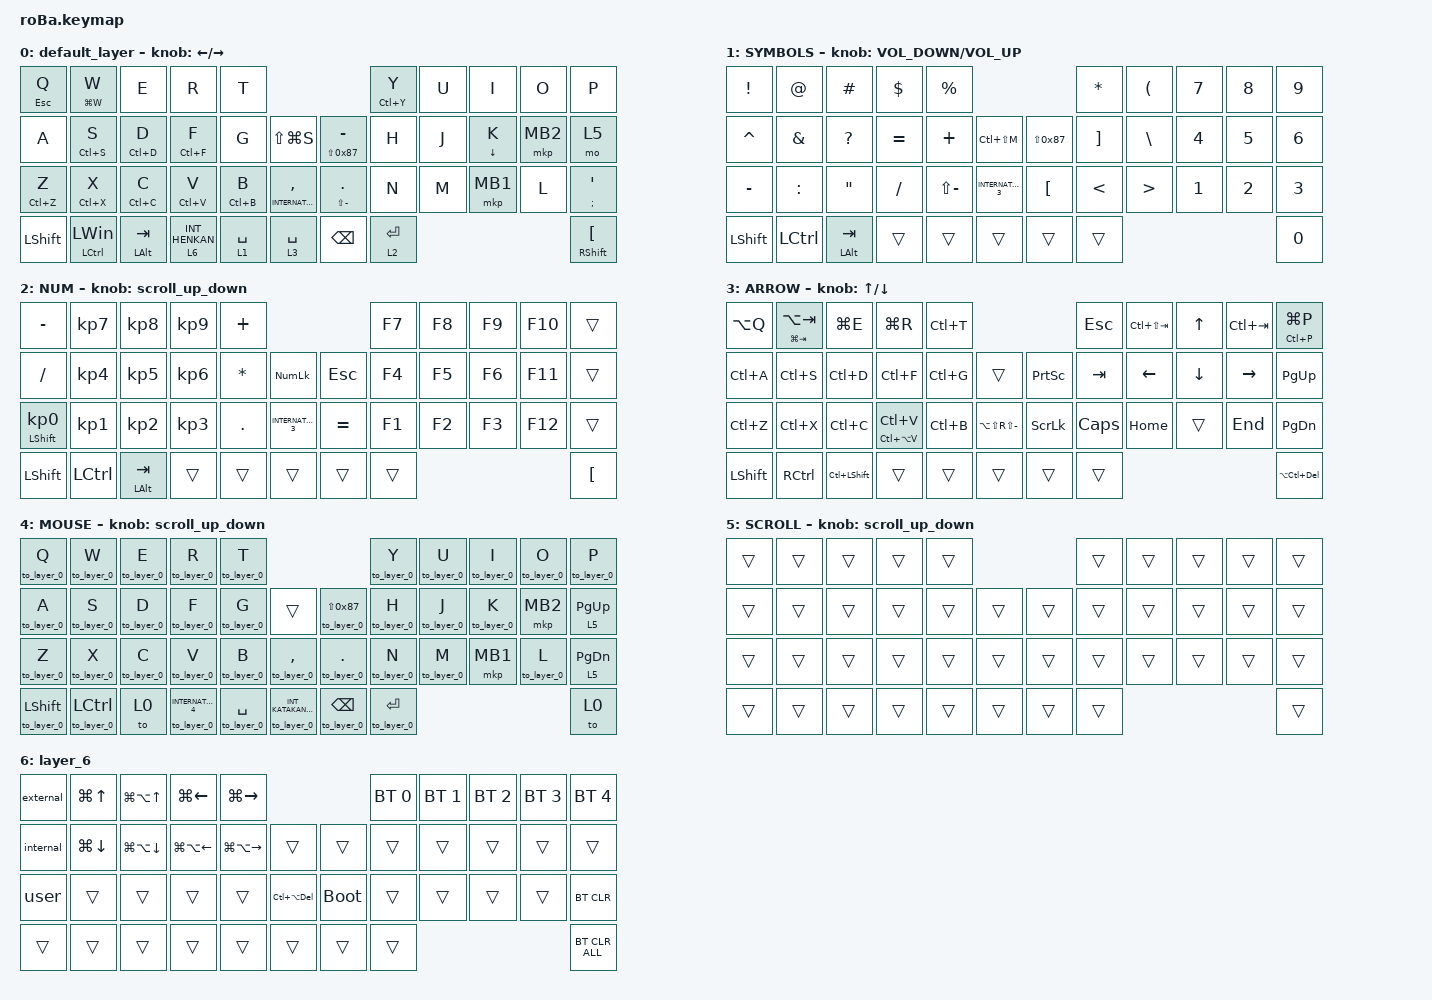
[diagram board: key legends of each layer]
#include <behaviors.dtsi>
#include <dt-bindings/zmk/bt.h>
#include <dt-bindings/zmk/keys.h>
#include <dt-bindings/zmk/pointing.h>

#define MOUSE 4
#define SCROLL 5
#define NUM 6
#define ZMK_POINTING_DEFAULT_SCRL_VAL 80
#define JP_UNDERSCORE   LS(0x87)          // _

&mt {
    flavor = "balanced";
    quick-tap-ms = <0>;
};

/ {
    combos {
        compatible = "zmk,combos";

        tab {
            bindings = <&kp TAB>;
            key-positions = <11 12>;
        };

        shift_tab {
            bindings = <&kp LS(TAB)>;
            key-positions = <12 13>;
        };
    };

    macros {
        to_layer_0: to_layer_0 {
            compatible = "zmk,behavior-macro-one-param";
            #binding-cells = <1>;
            bindings = <&to 0 &macro_param_1to1 &kp MACRO_PLACEHOLDER>;
            label = "TO_LAYER_0";
        };

        external: external {
            compatible = "zmk,behavior-macro";
            #binding-cells = <0>;
            bindings = <&none &kp N &kp T &kp LEFT_BRACKET &kp N3 &kp N0 &kp T &kp H>;
            label = "EXTERNAL";
        };

        internal: internal {
            compatible = "zmk,behavior-macro";
            #binding-cells = <0>;
            bindings = <&none &kp N &kp I &kp K &kp O &kp N &kp N1 &kp N0 &kp N9>;
            label = "INTERNAL";
        };

        user: user {
            compatible = "zmk,behavior-macro";
            #binding-cells = <0>;
            bindings = <&none &kp LS(C) &kp LS(H) &kp A &kp K &kp A &kp P &kp N0 &kp K &kp N0 &kp LEFT_BRACKET &kp LS(F) &kp LS(D) &kp N3 &kp LS(S)>;
            label = "USER";
        };

        new_macro: new_macro {
            compatible = "zmk,behavior-macro";
            #binding-cells = <0>;
            bindings = <&none>;
            label = "NEW_MACRO";
        };

        //      mkp_exit_AML: mkp_exit_AML {
        //           compatible = "zmk,behavior-macro-one-param";
        //            #binding-cells = <1>;
        //            bindings =
        //                <&macro_press>,
        //                <&macro_param_1to1 &mkp MACRO_PLACEHOLDER>,
        //                <&macro_pause_for_release>,
        //                <&macro_release>,
        //                <&macro_param_1to1 &mkp MACRO_PLACEHOLDER>,
        //                <&macro_tap>,
        //                <&sl 4>;
        //
        //            label = "MKP_EXIT_AML";
        //        };
    };

    behaviors {
        lt_to_layer_0: lt_to_layer_0 {
            compatible = "zmk,behavior-hold-tap";
            label = "LAYER_TAP_TO_0";
            bindings = <&mo>, <&to_layer_0>;

            #binding-cells = <2>;
            tapping-term-ms = <200>;
        };

        scroll_up_down: behavior_sensor_rotate_mouse_wheel_up_down {
            compatible = "zmk,behavior-sensor-rotate";
            #sensor-binding-cells = <0>;
            bindings = <&msc SCRL_UP>, <&msc SCRL_DOWN>;

            // 追加: スクロールのタップ時間を設定 (20ms)

            tap-ms = <20>;
        };
    };

    keymap {
        compatible = "zmk,keymap";

        default_layer {
            bindings = <
&mt ESCAPE Q    &mt LG(W) W         &kp E             &kp R             &kp T                                                                &mt LC(Y) Y  &kp U  &kp I             &kp O     &kp P
&kp A           &mt LC(S) S         &mt LC(D) D       &mt LC(F) F       &kp G        &kp LS(LG(S))                  &mt JP_UNDERSCORE MINUS  &kp H        &kp J  &mt DOWN_ARROW K  &mkp MB2  &mo 5
&mt LC(Z) Z     &mt LC(X) X         &mt LC(C) C       &mt LC(V) V       &mt LC(B) B  &mt INTERNATIONAL_3 COMMA      &mt LS(MINUS) PERIOD     &kp N        &kp M  &mkp MB1          &kp L     &mt SEMICOLON SINGLE_QUOTE
&kp LEFT_SHIFT  &mt LCTRL LEFT_WIN  &mt LEFT_ALT TAB  &lt 6 INT_HENKAN  &lt 1 SPACE  &lt 3 SPACE                    &kp BACKSPACE            &lt 2 ENTER                                     &mt RIGHT_SHIFT LEFT_BRACKET
            >;

            sensor-bindings = <&inc_dec_kp LEFT_ARROW RIGHT_ARROW>;
        };

        SYMBOLS {
            bindings = <
&kp EXCLAMATION  &kp AT     &kp HASH           &kp DLLR   &kp PRCNT                                                  &kp ASTERISK       &kp LEFT_PARENTHESIS  &kp N7  &kp N8  &kp N9
&kp CARET        &kp AMPS   &kp QMARK          &kp EQUAL  &kp PLUS       &kp LC(LS(M))            &kp JP_UNDERSCORE  &kp RIGHT_BRACKET  &kp BSLH              &kp N4  &kp N5  &kp N6
&kp MINUS        &kp COLON  &kp DOUBLE_QUOTES  &kp SLASH  &kp LS(MINUS)  &kp INTERNATIONAL_3      &kp LEFT_BRACKET   &kp LESS_THAN      &kp GREATER_THAN      &kp N1  &kp N2  &kp N3
&kp LEFT_SHIFT   &kp LCTRL  &mt LEFT_ALT TAB   &trans     &trans         &trans                   &trans             &trans                                                   &kp N0
            >;

            sensor-bindings = <&inc_dec_kp C_VOLUME_DOWN C_VOLUME_UP>;
        };

        NUM {
            bindings = <
&kp MINUS                   &kp KP_NUMBER_7  &kp KP_NUMBER_8   &kp KP_NUMBER_9  &kp PLUS                                          &kp F7  &kp F8  &kp F9  &kp F10  &trans
&kp SLASH                   &kp KP_NUMBER_4  &kp KP_NUMBER_5   &kp KP_NUMBER_6  &kp ASTERISK  &kp KP_NUMLOCK           &kp ESC    &kp F4  &kp F5  &kp F6  &kp F11  &trans
&mt LEFT_SHIFT KP_NUMBER_0  &kp KP_NUMBER_1  &kp KP_NUMBER_2   &kp KP_NUMBER_3  &kp PERIOD    &kp INTERNATIONAL_3      &kp EQUAL  &kp F1  &kp F2  &kp F3  &kp F12  &trans
&kp LEFT_SHIFT              &kp LCTRL        &mt LEFT_ALT TAB  &trans           &trans        &trans                   &trans     &trans                           &kp LEFT_BRACKET
            >;

            sensor-bindings = <&scroll_up_down>;
        };

        ARROW {
            bindings = <
&kp LA(Q)       &mt LG(TAB) LA(TAB)  &kp LG(E)      &kp LG(R)            &kp LC(T)                                              &kp ESCAPE    &kp LC(LS(TAB))  &kp UP_ARROW    &kp LC(TAB)      &mt LC(P) LG(P)
&kp LC(A)       &kp LC(S)            &kp LC(D)      &kp LC(F)            &kp LC(G)  &trans                     &kp PRINTSCREEN  &kp TAB       &kp LEFT_ARROW   &kp DOWN_ARROW  &kp RIGHT_ARROW  &kp PAGE_UP
&kp LC(Z)       &kp LC(X)            &kp LC(C)      &mt LC(LA(V)) LC(V)  &kp LC(B)  &kp LA(LS(RS(MINUS)))      &kp SCROLLLOCK   &kp CAPSLOCK  &kp HOME         &trans          &kp END          &kp PAGE_DOWN
&kp LEFT_SHIFT  &kp RCTRL            &kp LC(LSHFT)  &trans               &trans     &trans                     &trans           &trans                                                          &kp LA(LC(DELETE))
            >;

            sensor-bindings = <&inc_dec_kp UP_ARROW DOWN_ARROW>;
        };

        MOUSE {
            bindings = <
&to_layer_0 Q           &to_layer_0 W      &to_layer_0 E  &to_layer_0 R                &to_layer_0 T                                                                       &to_layer_0 Y       &to_layer_0 U  &to_layer_0 I  &to_layer_0 O  &to_layer_0 P
&to_layer_0 A           &to_layer_0 S      &to_layer_0 D  &to_layer_0 F                &to_layer_0 G      &trans                                &to_layer_0 JP_UNDERSCORE  &to_layer_0 H       &to_layer_0 J  &to_layer_0 K  &mkp MB2       &lt 5 PAGE_UP
&to_layer_0 Z           &to_layer_0 X      &to_layer_0 C  &to_layer_0 V                &to_layer_0 B      &to_layer_0 COMMA                     &to_layer_0 PERIOD         &to_layer_0 N       &to_layer_0 M  &mkp MB1       &to_layer_0 L  &lt 5 PAGE_DOWN
&to_layer_0 LEFT_SHIFT  &to_layer_0 LCTRL  &to 0          &to_layer_0 INTERNATIONAL_4  &to_layer_0 SPACE  &to_layer_0 INT_KATAKANAHIRAGANA      &to_layer_0 BACKSPACE      &to_layer_0 RETURN                                               &to 0
            >;

            sensor-bindings = <&scroll_up_down>;
        };

        SCROLL {
            bindings = <
&trans  &trans  &trans  &trans  &trans                      &trans  &trans  &trans  &trans  &trans
&trans  &trans  &trans  &trans  &trans  &trans      &trans  &trans  &trans  &trans  &trans  &trans
&trans  &trans  &trans  &trans  &trans  &trans      &trans  &trans  &trans  &trans  &trans  &trans
&trans  &trans  &trans  &trans  &trans  &trans      &trans  &trans                          &trans
            >;

            sensor-bindings = <&scroll_up_down>;
        };

        layer_6 {
            bindings = <
&external  &kp LG(UP_ARROW)    &kp LG(LA(UP_ARROW))    &kp LG(LEFT_ARROW)      &kp LG(RIGHT_ARROW)                                           &bt BT_SEL 0  &bt BT_SEL 1  &bt BT_SEL 2  &bt BT_SEL 3  &bt BT_SEL 4
&internal  &kp LG(DOWN_ARROW)  &kp LG(LA(DOWN_ARROW))  &kp LG(LA(LEFT_ARROW))  &kp LG(LA(RIGHT_ARROW))  &trans                  &trans       &trans        &trans        &trans        &trans        &trans
&user      &trans              &trans                  &trans                  &trans                   &kp LC(LA(DELETE))      &bootloader  &trans        &trans        &trans        &trans        &bt BT_CLR
&trans     &trans              &trans                  &trans                  &trans                   &trans                  &trans       &trans                                                  &bt BT_CLR_ALL
            >;
        };
    };
};
